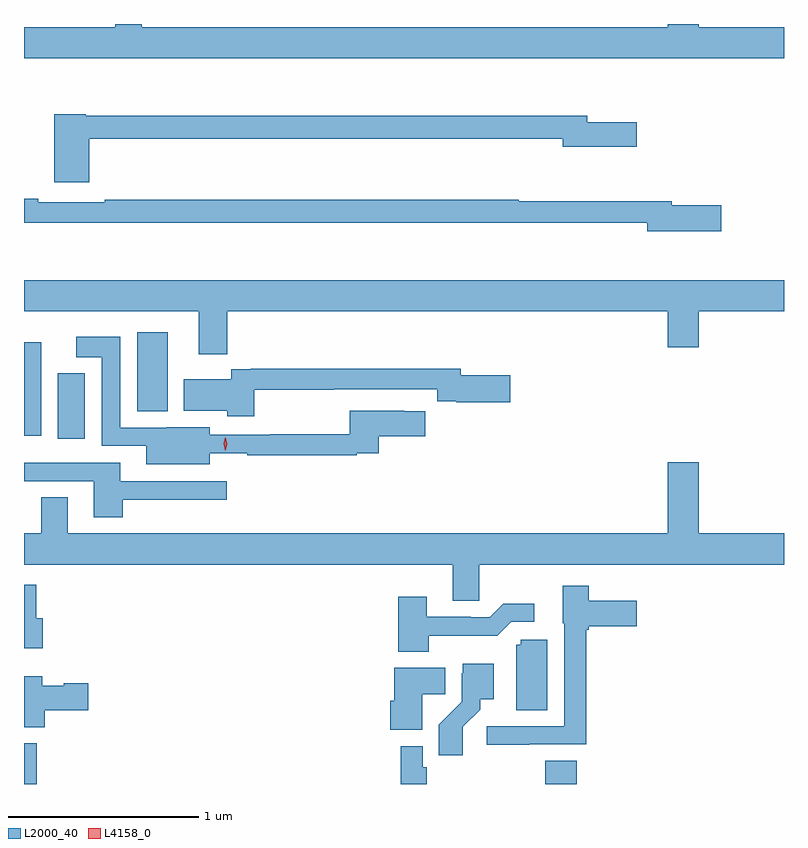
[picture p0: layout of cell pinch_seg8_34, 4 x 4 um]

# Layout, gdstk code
import gdstk
lib = gdstk.Library(unit=1e-6, precision=1e-09)
def R(c, l, rs):  # rectangles x0, y0, x1, y1
    for r in rs: c.add(gdstk.rectangle(r[:2], r[2:], *l))
def P(c, l, *ps):  # polygons
    for p in ps: c.add(gdstk.Polygon(p, *l))
L2000_40 = (2000, 40)
L4158_0 = (4158, 0)

pinch_seg8_34 = lib.new_cell('pinch_seg8_34')
R(pinch_seg8_34, L2000_40, [(976.804,1149.977,976.871,1150.192), (979.547,1149.977,979.712,1150.1), (976.982,1151.793,977.125,1152.139), (976.804,1151.811,976.894,1152.301), (977.399,1151.939,977.56,1152.355)])
P(pinch_seg8_34, L2000_40, [(980.804,1153.96),(980.356,1153.96),(980.356,1153.977),(980.192,1153.977),(980.192,1153.96),(977.424,1153.96),(977.424,1153.977),(977.285,1153.977),(977.285,1153.96),(976.804,1153.96),(976.804,1153.796),(980.804,1153.796)],
  [(977.147,1153.374),(979.64,1153.374),(979.64,1153.331),(980.029,1153.331),(980.029,1153.461),(979.768,1153.461),(979.768,1153.495),(977.13,1153.495),(977.13,1153.503),(976.964,1153.503),(976.964,1153.143),(977.147,1153.143)],
  [(980.473,1153.022),(980.212,1153.022),(980.212,1153.043),(979.408,1153.043),(979.408,1153.051),(977.23,1153.051),(977.23,1153.038),(976.88,1153.038),(976.88,1153.058),(976.804,1153.058),(976.804,1152.93),(980.084,1152.93),(980.084,1152.887),(980.473,1152.887)],
  [(977.875,1152.464),(980.192,1152.464),(980.192,1152.276),(980.356,1152.276),(980.356,1152.464),(980.804,1152.464),(980.804,1152.628),(976.804,1152.628),(976.804,1152.464),(977.723,1152.464),(977.723,1152.24),(977.875,1152.24)],
  [(977.782,1151.717),(977.978,1151.717),(977.978,1151.706),(978.554,1151.706),(978.554,1151.718),(978.671,1151.718),(978.671,1151.807),(978.917,1151.807),(978.917,1151.938),(978.806,1151.938),(978.806,1151.941),(978.518,1151.941),(978.518,1151.817),(978.1,1151.817),(978.1,1151.814),(977.782,1151.814),(977.782,1151.854),(977.556,1151.854),(977.556,1151.853),(977.31,1151.853),(977.31,1152.331),(977.079,1152.331),(977.079,1152.224),(977.214,1152.224),(977.214,1151.757),(977.447,1151.757),(977.447,1151.66),(977.782,1151.66)],
  [(978.017,1152.052),(978.434,1152.052),(978.434,1152.054),(978.978,1152.054),(978.978,1151.992),(979.078,1151.992),(979.078,1151.987),(979.363,1151.987),(979.363,1152.129),(979.102,1152.129),(979.102,1152.163),(977.998,1152.163),(977.998,1152.161),(977.895,1152.161),(977.895,1152.106),(977.645,1152.106),(977.645,1151.942),(977.875,1151.942),(977.875,1151.912),(978.017,1151.912)],
  [(977.035,1151.486),(976.895,1151.486),(976.895,1151.296),(976.804,1151.296),(976.804,1151.132),(979.061,1151.132),(979.061,1150.942),(979.2,1150.942),(979.2,1151.132),(980.804,1151.132),(980.804,1151.296),(980.356,1151.296),(980.356,1151.671),(980.192,1151.671),(980.192,1151.296),(977.035,1151.296)],
  [(977.324,1151.474),(977.872,1151.474),(977.872,1151.571),(977.311,1151.571),(977.311,1151.667),(976.804,1151.667),(976.804,1151.571),(977.171,1151.571),(977.171,1151.382),(977.324,1151.382)],
  [(976.903,1150.849),(976.868,1150.849),(976.868,1151.026),(976.804,1151.026),(976.804,1150.691),(976.903,1150.691)],
  [(979.463,1150.185),(979.763,1150.185),(979.763,1150.79),(979.776,1150.79),(979.776,1150.808),(980.029,1150.808),(980.029,1150.942),(979.776,1150.942),(979.776,1151.02),(979.64,1151.02),(979.64,1150.824),(979.647,1150.824),(979.647,1150.281),(979.239,1150.281),(979.239,1150.183),(979.463,1150.183)],
  [(978.933,1150.758),(979.295,1150.758),(979.368,1150.83),(979.489,1150.83),(979.489,1150.927),(979.327,1150.927),(979.254,1150.854),(979.154,1150.854),(979.154,1150.857),(978.925,1150.857),(978.925,1150.963),(978.773,1150.963),(978.773,1150.673),(978.933,1150.673)],
  [(979.558,1150.737),(979.419,1150.737),(979.419,1150.71),(979.394,1150.71),(979.394,1150.366),(979.558,1150.366)],
  [(979.114,1150.279),(979.204,1150.369),(979.204,1150.424),(979.276,1150.424),(979.276,1150.609),(979.112,1150.609),(979.112,1150.56),(979.107,1150.56),(979.107,1150.409),(978.988,1150.29),(978.988,1150.128),(979.114,1150.128)],
  [(978.901,1150.45),(979.022,1150.45),(979.022,1150.588),(978.752,1150.588),(978.752,1150.415),(978.731,1150.415),(978.731,1150.262),(978.901,1150.262)],
  [(976.913,1150.366),(977.143,1150.366),(977.143,1150.508),(977.013,1150.508),(977.013,1150.495),(976.9,1150.495),(976.9,1150.543),(976.804,1150.543),(976.804,1150.277),(976.913,1150.277)],
  [(978.923,1150.065),(978.903,1150.065),(978.903,1150.177),(978.787,1150.177),(978.787,1149.977),(978.923,1149.977)])
P(pinch_seg8_34, L4158_0, [(977.864,1151.732),(977.864,1151.732),(977.854,1151.768),(977.864,1151.803),(977.864,1151.803),(977.864,1151.803),(977.874,1151.768),(977.864,1151.732)])

lib.write_gds('pinch_seg8_34.gds')
